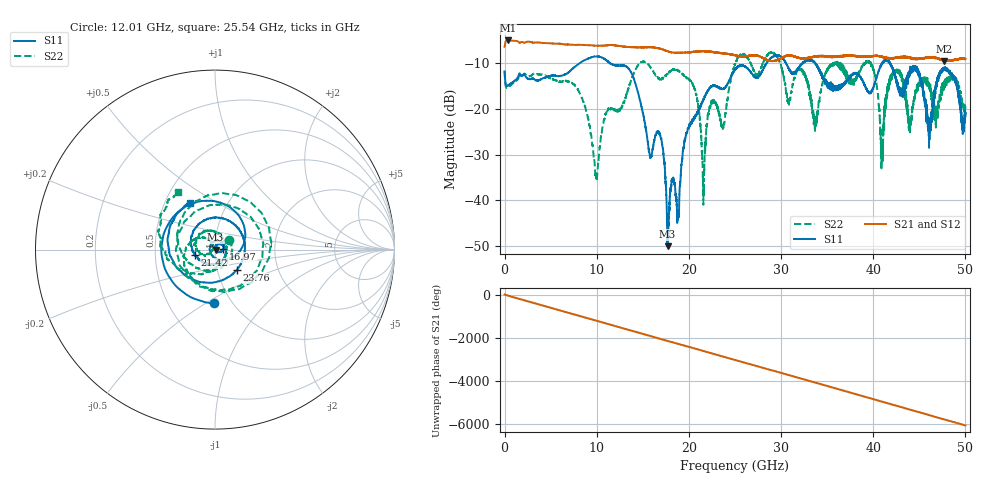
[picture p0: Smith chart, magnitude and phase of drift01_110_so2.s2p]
!Created with skrf (http://scikit-rf.org).
# Hz S RI R 50.0
!freq ReS11 ImS11 ReS21 ImS21 ReS12 ImS12 ReS22 ImS22
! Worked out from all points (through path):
!   10001 points, 300 kHz to 50 GHz, reference 50 ohm
!   highest |S21| = -5.05 dB at 360.3 MHz (marker M1); lowest = -9.6 dB at 47.67 GHz (marker M2)
!   group delay of S21, straight-line fit = 336 ps
!   lowest |S11| = -50.0 dB at 17.69 GHz (marker M3), VSWR 1.01, Z = 50.3 - j0.109 ohm
!   |S11| at or under -10 dB: start of sweep to 8.154 GHz; 11.43 GHz to 28.42 GHz (16.99 GHz wide, 85.3 % of centre); 41.8 GHz to end of sweep (the widest 3 of 11)
!   |S22| runs from -41.0 to -7.6 dB; largest |S21 - S12| = 0.015
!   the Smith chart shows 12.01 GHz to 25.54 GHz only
!   S11 on the Smith chart (normalised r, x): 12.01 GHz: 0.83, -0.54; 16.97 GHz: 1.10, +0.01; 21.42 GHz: 0.80, -0.05; 23.76 GHz: 1.24, -0.29; 25.54 GHz: 0.66, +0.38
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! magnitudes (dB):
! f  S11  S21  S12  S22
! 300 kHz  -11.8  -6.5  -6.5  -11.8
! 360.3 MHz  -14.9  -5.1  -5.1  -15.3
! 8.335 GHz  -9.8  -6.0  -6.0  -17.5
! 9.945 GHz  -8.5  -6.2  -6.2  -34.6
! 12.01 GHz  -10.5  -6.1  -6.2  -20.4
! 16.67 GHz  -24.9  -6.7  -6.7  -13.3
! 16.97 GHz  -26.5  -6.9  -6.9  -13.4
! 17.69 GHz  -50.0  -7.4  -7.4  -12.3
! 20.48 GHz  -22.4  -7.6  -7.6  -14.9
! 21.42 GHz  -18.7  -7.4  -7.4  -30.0
! 22.47 GHz  -15.1  -7.5  -7.6  -19.0
! 23.76 GHz  -15.6  -7.9  -7.9  -23.5
! 25 GHz  -11.4  -8.3  -8.3  -10.2
! 25.54 GHz  -10.5  -8.5  -8.5  -8.4
! 33.34 GHz  -9.4  -8.7  -8.7  -19.2
! 39.49 GHz  -16.4  -8.6  -8.6  -9.9
! 40.95 GHz  -10.2  -8.7  -8.5  -28.5
! 41.67 GHz  -9.6  -8.8  -8.9  -14.6
! 44.76 GHz  -11.5  -9.0  -9.0  -15.1
! 46.1 GHz  -25.0  -8.7  -8.7  -15.1
! 47.67 GHz  -11.2  -9.6  -9.4  -14.5
! 50 GHz  -20.9  -9.1  -9.1  -20.1
